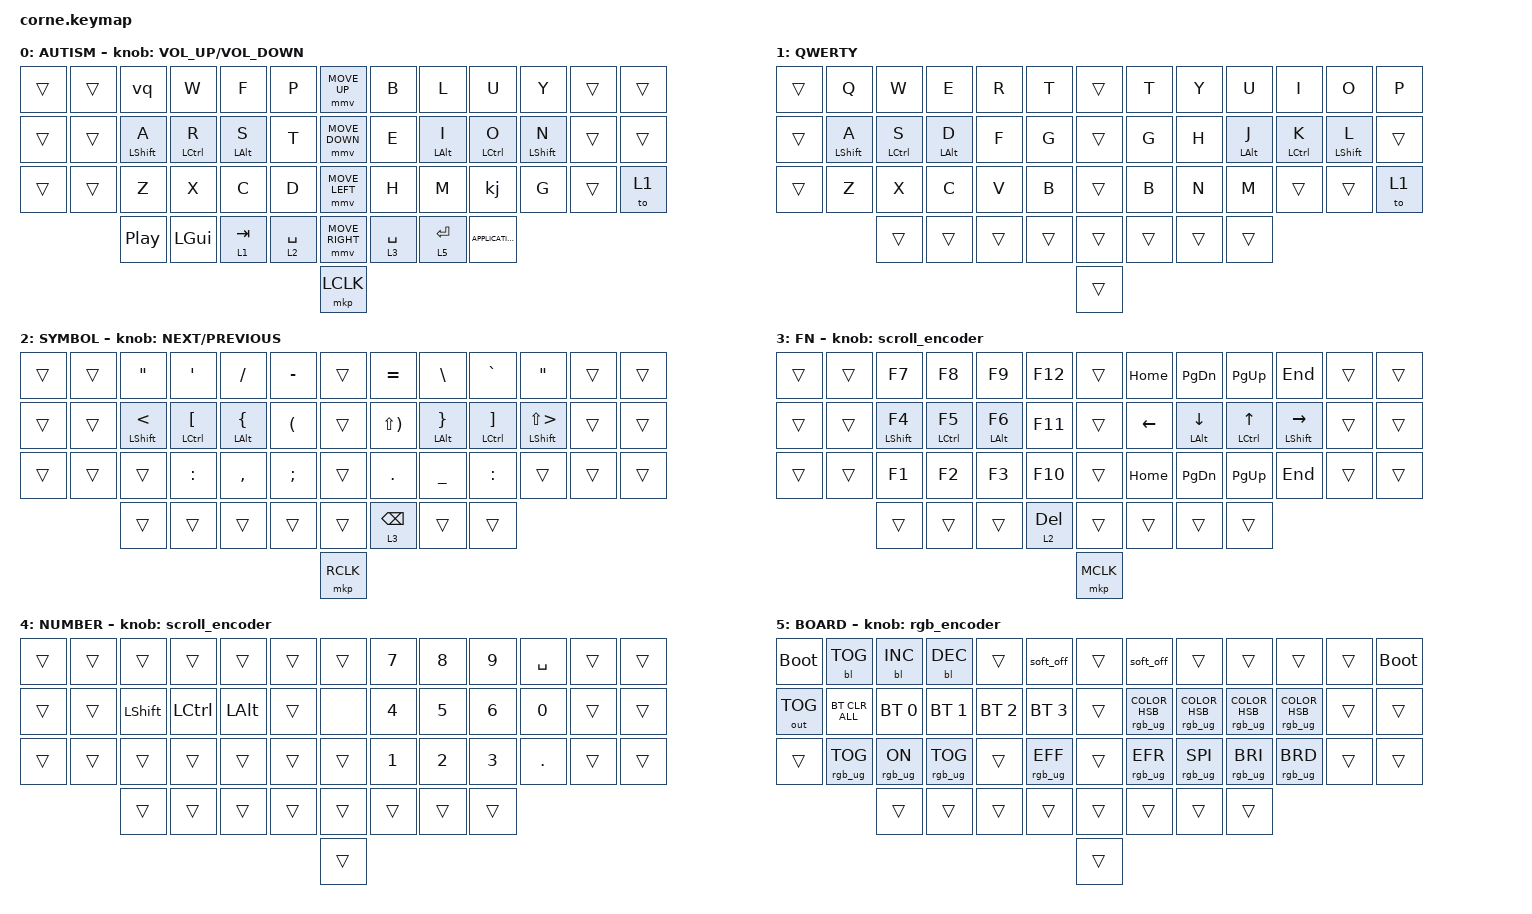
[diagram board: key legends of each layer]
#include <behaviors/mouse_keys.dtsi>
#include <dt-bindings/zmk/mouse.h>
#include <behaviors.dtsi>
#include <dt-bindings/zmk/backlight.h>
#include <dt-bindings/zmk/bt.h>
#include <dt-bindings/zmk/keys.h>
#include <dt-bindings/zmk/outputs.h>
#include <dt-bindings/zmk/rgb.h>

#define ZMK_MOUSE_DEFAULT_MOVE_VAL 2400  // 600
#define ZMK_MOUSE_DEFAULT_SCRL_VAL 20    // 10
#define U_MS_U &mmv MOVE_UP
#define U_MS_D &mmv MOVE_DOWN
#define U_MS_L &mmv MOVE_LEFT
#define U_MS_R &mmv MOVE_RIGHT

/ {
    behaviors {
        td0: td0 {
            compatible = "zmk,behavior-tap-dance";
            label = "TD0";
            #binding-cells = <0>;
            bindings = <&kp LEFT_SHIFT>, <&kp CAPS>;
        };

        mmv {
            acceleration-exponent = <1>;      // 1
            time-to-max-speed-ms = <2000>;    // 40
            delay-ms = <0>;                   // 0
        };

        msc {
            acceleration-exponent = <1>;      // 0
            time-to-max-speed-ms = <400>;      // 500
            delay-ms = <0>;                   // 10
        };

        hm: homerow_mods {
            compatible = "zmk,behavior-hold-tap";
            #binding-cells = <2>;
            tapping-term-ms = <200>;
            quick-tap-ms = <0>;
            flavor = "tap-preferred";
            bindings = <&kp>, <&kp>;
        };

        vq: vq {
            compatible = "zmk,behavior-tap-dance";
            label = "VQ";
            #binding-cells = <0>;
            bindings = <&kp V>, <&kp Q>;

            tapping-term-ms = <200>;
        };

        kj: kj {
            compatible = "zmk,behavior-tap-dance";
            label = "KJ";
            #binding-cells = <0>;
            bindings = <&kp K>, <&kp J>;
        };

        thumb: thumb {
            compatible = "zmk,behavior-hold-tap";
            label = "THUMB";
            bindings = <&mo>, <&kp>;

            #binding-cells = <2>;
            tapping-term-ms = <200>;
        };
    };

    rgb_encoder: rgb_encoder {
        compatible = "zmk,behavior-sensor-rotate";
        label = "RGB_ENCODER";
        #sensor-binding-cells = <0>;
        bindings = <&rgb_ug RGB_BRI>, <&rgb_ug RGB_BRD>;
    };

    scroll_encoder: scroll_encoder {
        compatible = "zmk,behavior-sensor-rotate";
        #sensor-binding-cells = <0>;
        bindings = <&msc SCRL_DOWN>, <&msc SCRL_UP>;

        tap-ms = <30>;
    };

    combos {
        compatible = "zmk,combos";

        escape {
            bindings = <&kp ESCAPE>;
            key-positions = <41 45>;
        };
    };

    keymap {
        compatible = "zmk,keymap";

        AUTISM {
            display-name = "AUTISM";

            // --------------------------------------------------------------------------------
            // |  TAB |  Q  |  W  |  E  |  R  |  T  |                ↑    |  Y  |  U   |  I  |  O  |  P  | BKSP |      &kp UP_ARROW 
            // | SHIFT |  A  |  S  |  D  |  F  |  G  |               ↓    |  H  |  J   |  K  |  L  |  ;  |  '   | 
            // | CTRL |  Z  |  X  |  C  |  V  |  B  |                ←    |  N  |  M   |  ,  |  .  |  /  | ESC  |
            //                    | GUI | LWR | SPC |                →    | ENT | RSE  | ALT |
            //                                                      enter

            bindings = <
&trans  &trans     &vq               &kp W               &kp F           &kp P             &mmv MOVE_UP       &kp B         &kp L              &kp U               &kp Y             &trans &trans       
&trans  &trans     &hm LEFT_SHIFT A  &hm LEFT_CONTROL R  &hm LEFT_ALT S  &kp T             &mmv MOVE_DOWN     &kp E         &hm LEFT_ALT I     &hm LEFT_CONTROL O  &hm LEFT_SHIFT N  &trans &trans     
&trans  &trans     &kp Z             &kp X               &kp C           &kp D             &mmv MOVE_LEFT     &kp H         &kp M              &kj                 &kp G             &trans &to 1     
                          &kp C_PLAY_PAUSE    &kp LEFT_GUI    &lt 1 TAB  &thumb 2 SPACE    &mmv MOVE_RIGHT  &thumb 3 SPACE  &lt 5 RETURN  &kp K_APPLICATION
                                                                                           &mkp LCLK
            >;

            label = "AUTISM";
            sensor-bindings = <&inc_dec_kp C_VOLUME_UP C_VOLUME_DOWN>;
        };

        QWERTY {
            bindings = <
&trans   &kp Q             &kp W               &kp E           &kp R   &kp T     &trans  &kp T   &kp Y   &kp U           &kp I               &kp O               &kp P
&trans   &hm LEFT_SHIFT A  &hm LEFT_CONTROL S  &hm LEFT_ALT D  &kp F   &kp G     &trans  &kp G   &kp H   &hm LEFT_ALT J  &hm LEFT_CONTROL K  &hm LEFT_SHIFT L    &trans
&trans   &kp Z             &kp X               &kp C           &kp V   &kp B     &trans  &kp B   &kp N   &kp M           &trans               &trans              &to 1 
                          &trans              &trans          &trans  &trans    &trans  &trans  &trans  &trans
                                                                                &trans
            >;

            label = "QWERTY";
        };

        SYMBOL {
            bindings = <
&trans     &trans  &kp DOUBLE_QUOTES         &kp SQT                &kp FSLH                 &kp MINUS             &trans    &kp EQUAL     &kp BSLH                  &kp GRAVE              &kp DOUBLE_QUOTES     &trans      &trans
&trans     &trans  &hm LEFT_SHIFT LESS_THAN  &hm LEFT_CONTROL LBKT  &hm LEFT_ALT LEFT_BRACE  &kp LEFT_PARENTHESIS  &trans    &kp LS(RPAR)  &hm LEFT_ALT RIGHT_BRACE  &hm LEFT_CONTROL RBKT  &hm LEFT_SHIFT LS(GT) &trans      &trans
&trans     &trans  &trans                    &kp COLON              &kp COMMA                &kp SEMI              &trans    &kp DOT       &kp UNDER                 &kp COLON              &trans                &trans      &trans
                                  &trans                 &trans                   &trans                &trans    &trans     &thumb 3 BACKSPACE  &trans        &trans
                                                                                                                  &mkp RCLK
            >;

            label = "SYMBOL";
            sensor-bindings = <&inc_dec_kp C_NEXT C_PREVIOUS>;
        };

        FUNCTION {
            bindings = <
&trans     &trans  &kp F7             &kp F8               &kp F9           &kp F12  &trans              &kp HOME  &kp PG_DN          &kp PG_UP            &kp END              &trans      &trans
&trans     &trans  &hm LEFT_SHIFT F4  &hm LEFT_CONTROL F5  &hm LEFT_ALT F6  &kp F11  &trans              &kp LEFT  &hm LEFT_ALT DOWN  &hm LEFT_CONTROL UP  &hm LEFT_SHIFT RIGHT &trans      &trans
&trans     &trans  &kp F1             &kp F2               &kp F3           &kp F10  &trans              &kp HOME  &kp PG_DN          &kp PG_UP            &kp END              &trans      &trans
                           &trans               &trans           &trans   &thumb 2 DELETE    &trans     &trans  &trans    &trans
                                                                                             &mkp MCLK
            >;

            label = "FN";
            sensor-bindings = <&scroll_encoder>;
        };

        NUMBER {
            bindings = <
&trans     &trans  &trans          &trans            &trans          &trans  &trans  &kp N7  &kp N8  &kp N9  &kp SPACE &trans      &trans
&trans     &trans  &kp LEFT_SHIFT  &kp LEFT_CONTROL  &kp LEFT_ALT    &trans  &none   &kp N4  &kp N5  &kp N6  &kp N0    &trans      &trans
&trans     &trans  &trans          &trans            &trans          &trans  &trans  &kp N1  &kp N2  &kp N3  &kp DOT   &trans      &trans
                        &trans            &trans        &trans  &trans    &trans  &trans  &trans  &trans
                                                                          &trans
            >;

            label = "NUMBER";
            sensor-bindings = <&scroll_encoder>;
        };

        BOARD {
            display-name = "BOARD";

            // -----------------------------------------------------------------------------------------
            // |  TAB |  1  |  2  |  3  |  4  |  5  |   |  6  |  7  |  8  |  9  |  0  | BKSP |
            // | BTCLR| BT1 | BT2 | BT3 | BT4 | BT5 |   | LFT | DWN |  UP | RGT |     |      |
            // | SHFT |     |     |     |     |     |   |     |     |     |     |     |      |
            //                    | GUI |     | SPC |   | ENT |     | ALT |

            bindings = <
&bootloader   &bl BL_TOG       &bl BL_INC      &bl BL_DEC       &trans        &soft_off          &trans  &soft_off                       &trans                          &trans                            &trans                             &trans  &bootloader
&out OUT_TOG  &bt BT_CLR_ALL   &bt BT_SEL 0    &bt BT_SEL 1     &bt BT_SEL 2  &bt BT_SEL 3       &trans  &rgb_ug RGB_COLOR_HSB(0,0,100)  &rgb_ug RGB_COLOR_HSB(0,95,41)  &rgb_ug RGB_COLOR_HSB(37,100,50)  &rgb_ug RGB_COLOR_HSB(274,100,50)  &trans  &trans
&trans        &rgb_ug RGB_TOG  &rgb_ug RGB_ON  &rgb_ug RGB_TOG  &trans        &rgb_ug RGB_EFF    &trans  &rgb_ug RGB_EFR                 &rgb_ug RGB_SPI                 &rgb_ug RGB_BRI                   &rgb_ug RGB_BRD                    &trans  &trans
                               &trans          &trans           &trans        &trans             &trans  &trans                          &trans                          &trans
                                                                                                 &trans
            >;

            label = "BOARD";
            sensor-bindings = <&rgb_encoder>;
        };
    };

    conditional_layers {
        compatible = "zmk,conditional-layers";

        test {
            if-layers = <3 2>;
            then-layer = <4>;
        };
    };
};
